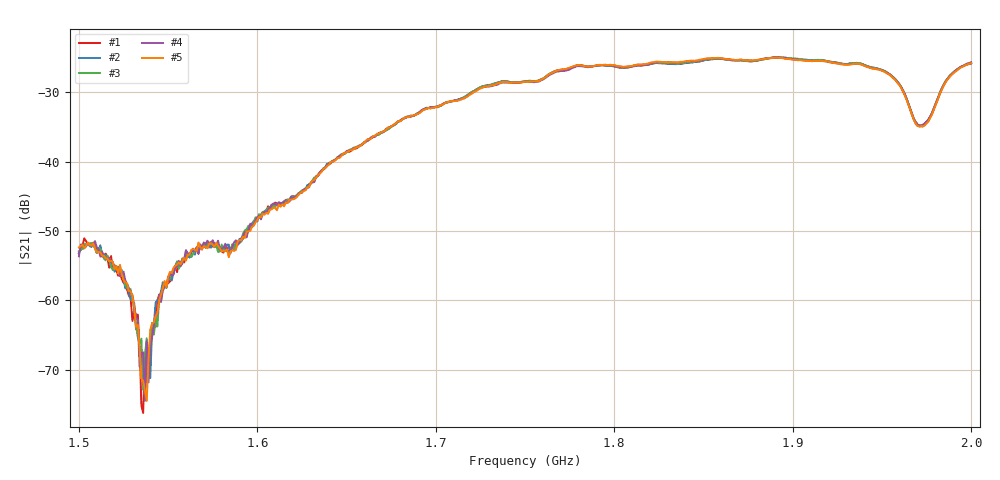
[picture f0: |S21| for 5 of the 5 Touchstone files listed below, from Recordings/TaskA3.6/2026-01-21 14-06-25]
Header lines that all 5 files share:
! NanoVNA-App by SYSJOINT et al v1.1.209 (+OD18)
! Start: 1,5GHz Stop: 2GHz Points: 501
! S-Parameter data: F S11 S21 S12 S22
# Hz S RI R 50
!  Frequency  S11_Real  S11_Imag  S21_Real  S21_Imag  S12_Real  S12_Imag  S22_Real  S22_Imag
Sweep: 1.5 GHz to 2 GHz
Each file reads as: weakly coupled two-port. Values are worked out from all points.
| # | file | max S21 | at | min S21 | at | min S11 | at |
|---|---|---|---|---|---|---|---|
| 1 | 0.s2p | -24.98 dB | 1.889 GHz | -76.2 dB | 1.536 GHz | -30.5 dB | 1.816 GHz |
| 2 | 1.s2p | -24.97 dB | 1.893 GHz | -73.3 dB | 1.537 GHz | -30.5 dB | 1.816 GHz |
| 3 | 2.s2p | -24.95 dB | 1.893 GHz | -72.9 dB | 1.536 GHz | -30.7 dB | 1.816 GHz |
| 4 | 3.s2p | -24.93 dB | 1.89 GHz | -74.5 dB | 1.537 GHz | -29.9 dB | 1.816 GHz |
| 5 | 4.s2p | -24.99 dB | 1.891 GHz | -74.5 dB | 1.538 GHz | -30.2 dB | 1.816 GHz |
